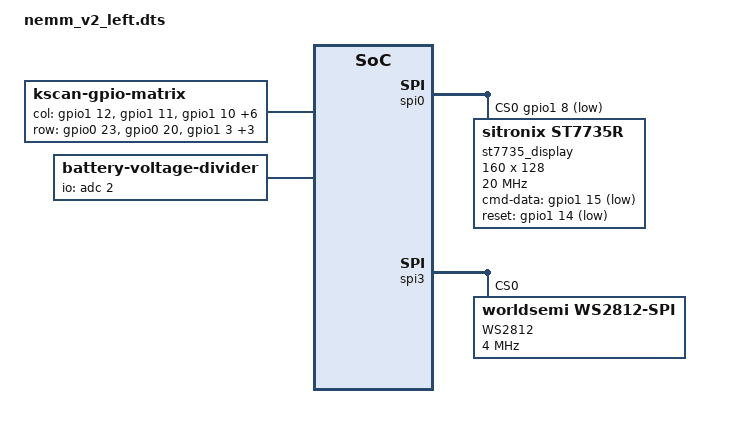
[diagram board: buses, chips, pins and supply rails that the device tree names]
/*
# Copyright (c) 2021 The ZMK Contributors
*
* SPDX-License-Identifier: MIT
*/

#include "nemm_v2.dts"
#include "nemm_v2_left_pinctrl.dtsi"

/{
	chosen {
		zephyr,display = &st7735_display;
		zmk,battery = &vbatt;
		zmk,underglow = &led_strip;
	};

	kscan0: kscan {
		compatible = "zmk,kscan-gpio-matrix";
		label = "KSCAN";

		diode-direction = "col2row";

		col-gpios
			= <&gpio1 12 GPIO_ACTIVE_HIGH>
			, <&gpio1 11 GPIO_ACTIVE_HIGH>
			, <&gpio1 10 GPIO_ACTIVE_HIGH>
			, <&gpio1 14 GPIO_ACTIVE_HIGH>
			, <&gpio0 27 GPIO_ACTIVE_HIGH>
			, <&gpio0 12 GPIO_ACTIVE_HIGH>
			, <&gpio1 5  GPIO_ACTIVE_HIGH>
			, <&gpio1 0 GPIO_ACTIVE_HIGH>
			, <&gpio0 25 GPIO_ACTIVE_HIGH>
			;

		row-gpios
			= <&gpio0 23 (GPIO_ACTIVE_HIGH | GPIO_PULL_DOWN)>
			, <&gpio0 20 (GPIO_ACTIVE_HIGH | GPIO_PULL_DOWN)>
			, <&gpio1 3  (GPIO_ACTIVE_HIGH | GPIO_PULL_DOWN)>
			, <&gpio1 1 (GPIO_ACTIVE_HIGH | GPIO_PULL_DOWN)>
			, <&gpio1 7 (GPIO_ACTIVE_HIGH | GPIO_PULL_DOWN)>
			, <&gpio0 29 (GPIO_ACTIVE_HIGH | GPIO_PULL_DOWN)>
			;
	};

	// ext-power {
	// 	compatible = "zmk,ext-power-generic";
	// 	label = "EXT_POWER";
	// 	control-gpios = <&gpio0 8 GPIO_ACTIVE_LOW>;   /*0.08*/
	// };

	vbatt: vbatt {
		compatible = "zmk,battery-voltage-divider";
		label = "BATTERY";
		io-channels = <&adc 2>;
		output-ohms = <10000000>;
		full-ohms   = <(10000000 + 4000000)>;
	};

};

&spi0 {
	compatible = "nordic,nrf-spim";
	status = "okay";
	pinctrl-0 = <&spi0_default>;
	pinctrl-1 = <&spi0_sleep>;
	pinctrl-names = "default", "sleep";
	cs-gpios = <&gpio1 8 GPIO_ACTIVE_LOW>;

	st7735_display: st7735r@0{
		compatible = "sitronix,st7735r";
		spi-max-frequency = <20000000>;
		reg = <0>;
		cmd-data-gpios = <&gpio1 15 GPIO_ACTIVE_LOW>;	/* D9 */
		reset-gpios = <&gpio1 14 GPIO_ACTIVE_LOW>;	/* D8 */
		width = <160>;
		height = <128>;
		x-offset = <0>;
		y-offset = <0>;
		madctl = <0x60>;
		colmod = <0x55>;
		vmctr1 = <0x0e>;
		pwctr1 = [a2 02 84];
		pwctr2 = [c5];
		pwctr3 = [0a 00];
		pwctr4 = [8a 2a];
		pwctr5 = [8a ee];
		frmctr1 = [01 2c 2d];
		frmctr2 = [01 2c 2d];
		frmctr3 = [01 2c 2d 01 2c 2d];
		gamctrp1 = [02 1c 07 12 37 32 29 2d 29 25 2b 39 00 01 03 10];
		gamctrn1 = [03 1d 07 06 2e 2c 29 2d 2e 2e 37 3f 00 00 02 10];
	};
};

&spi3 {
  compatible = "nordic,nrf-spim";
  status = "okay";

  pinctrl-0 = <&spi3_default>;
  pinctrl-1 = <&spi3_sleep>;
  pinctrl-names = "default", "sleep";

  led_strip: ws2812@0 {
    compatible = "worldsemi,ws2812-spi";
    label = "WS2812";

    /* SPI */
    reg = <0>; /* ignored, but necessary for SPI bindings */
    spi-max-frequency = <4000000>;

    /* WS2812 */
    chain-length = <8>; /* number of LEDs */
    spi-one-frame = <0x70>;
    spi-zero-frame = <0x40>;
    color-mapping = <LED_COLOR_ID_GREEN
                          LED_COLOR_ID_RED
                          LED_COLOR_ID_BLUE>;
  };
};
